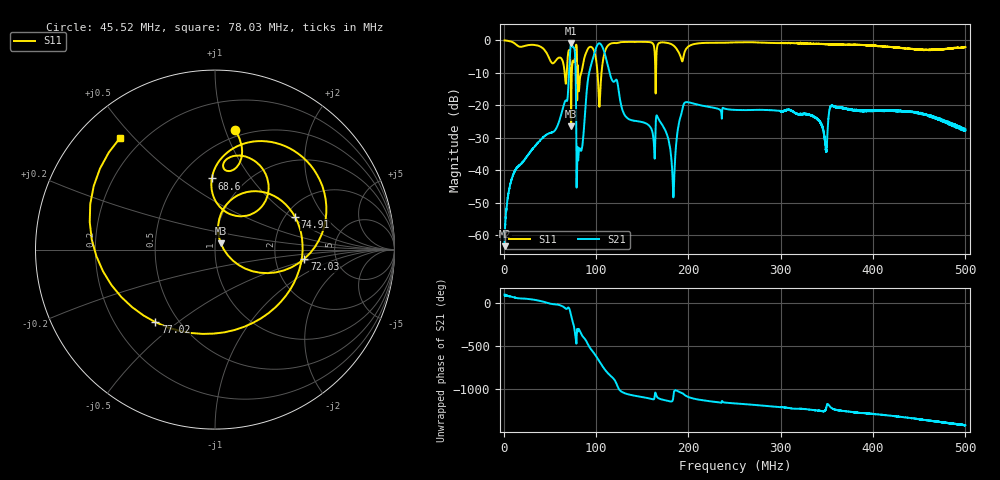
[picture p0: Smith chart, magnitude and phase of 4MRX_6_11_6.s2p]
! NanoVNA-App
! Date: 2026-08-19 15:11:44
! Start: 1MHz Stop: 500MHz Points: 6401
! S-Parameter data: F S11 S21 S12 S22
# Hz S RI R 50
!  Frequency  S11_Real  S11_Imag  S21_Real  S21_Imag  S12_Real  S12_Imag  S22_Real  S22_Imag
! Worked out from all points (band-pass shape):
!   6401 points, 1 MHz to 500 MHz, reference 50 ohm
!   highest |S21| = -0.88 dB at 73.12 MHz (marker M1); lowest = -63.4 dB at 1 MHz (marker M2)
!   |S21| within 3 dB of the highest: 71.86 MHz to 77.17 MHz (5.313 MHz wide, 7.13 % of centre); 98.25 MHz to 109.3 MHz (11.04 MHz wide, 10.6 % of centre)
!   lowest |S11| = -26.5 dB at 73.04 MHz (marker M3), VSWR 1.10, Z = 53.2 + j3.65 ohm
!   |S11| at or under -10 dB: 66.03 MHz to 68.21 MHz (2.179 MHz wide, 3.25 % of centre); 80.64 MHz to 84.03 MHz (3.383 MHz wide, 4.11 % of centre); 101.6 MHz to 105.9 MHz (4.337 MHz wide, 4.18 % of centre)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
!   S12 and S22 are empty: the file has one direction only
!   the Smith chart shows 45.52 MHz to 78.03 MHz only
!   S11 on the Smith chart (normalised r, x): 45.52 MHz: 0.44, +1.08; 68.6 MHz: 0.71, +0.66; 72.03 MHz: 2.95, -0.40; 74.91 MHz: 2.26, +1.07; 77.02 MHz: 0.37, -0.42; 78.03 MHz: 0.12, +0.46
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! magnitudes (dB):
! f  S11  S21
! 1 MHz  0.0  -63.4
! 10.9 MHz  -0.7  -41.0
! 45.52 MHz  -3.4  -29.2
! 68.6 MHz  -8.0  -18.7
! 72.03 MHz  -6.0  -3.1
! 73.04 MHz  -26.5  -0.9
! 73.12 MHz  -22.8  -0.9
! 74.91 MHz  -6.3  -2.0
! 77.02 MHz  -5.6  -3.3
! 78.03 MHz  -1.8  -12.3
! 81 MHz  -13.2  -35.7
! 84.19 MHz  -9.8  -33.9
! 95.34 MHz  -2.1  -6.8
! 103.1 MHz  -18.4  -0.9
! 132.3 MHz  -0.5  -23.5
! 167.4 MHz  -1.0  -24.0
! 183.5 MHz  -1.5  -47.0
! 196.6 MHz  -3.1  -19.1
! 250.5 MHz  -0.6  -21.4
! 333.7 MHz  -1.0  -23.2
! 416.9 MHz  -2.0  -21.6
! 500 MHz  -2.0  -27.4
